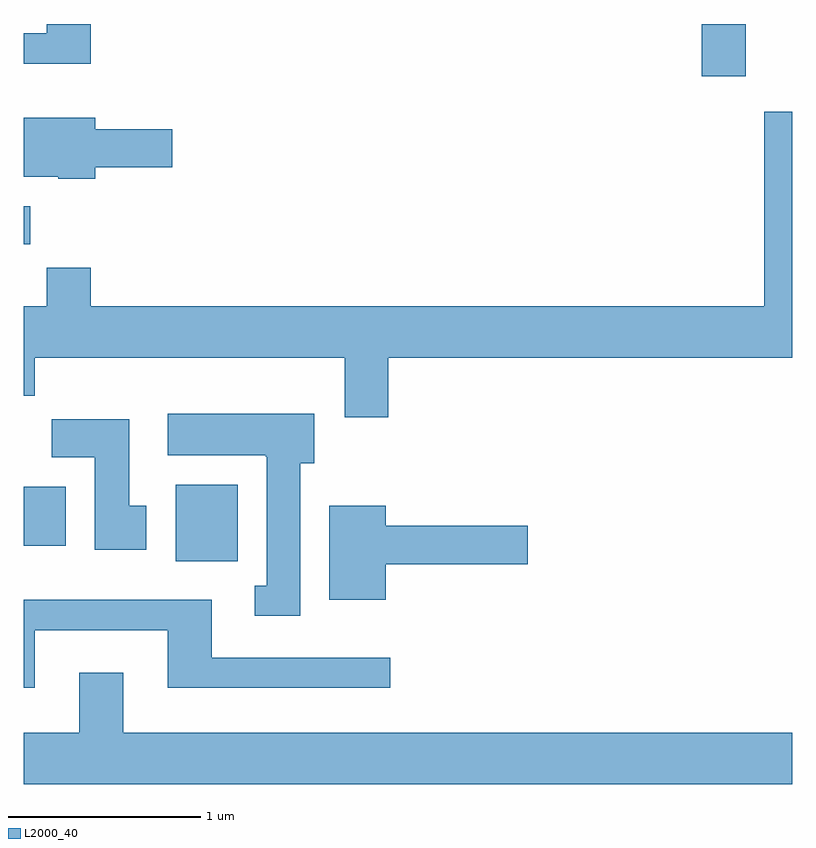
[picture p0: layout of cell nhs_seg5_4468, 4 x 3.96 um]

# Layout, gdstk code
import gdstk
lib = gdstk.Library(unit=1e-6, precision=1e-09)
def R(c, l, rs):  # rectangles x0, y0, x1, y1
    for r in rs: c.add(gdstk.rectangle(r[:2], r[2:], *l))
def P(c, l, *ps):  # polygons
    for p in ps: c.add(gdstk.Polygon(p, *l))
L2000_40 = (2000, 40)

nhs_seg5_4468 = lib.new_cell('nhs_seg5_4468')
R(nhs_seg5_4468, L2000_40, [(318.401,1471.276,318.724,1471.674), (317.611,1471.356,317.829,1471.664), (317.611,1472.926,317.644,1473.124), (321.141,1473.801,321.369,1474.072)])
P(nhs_seg5_4468, L2000_40, [(317.959,1474.072),(317.731,1474.072),(317.731,1474.024),(317.611,1474.024),(317.611,1473.866),(317.959,1473.866)],
  [(319.509,1472.336),(321.611,1472.336),(321.611,1473.614),(321.466,1473.614),(321.466,1472.604),(317.959,1472.604),(317.959,1472.804),(317.731,1472.804),(317.731,1472.604),(317.611,1472.604),(317.611,1472.136),(317.669,1472.136),(317.669,1472.336),(319.281,1472.336),(319.281,1472.026),(319.509,1472.026)],
  [(317.984,1473.326),(318.384,1473.326),(318.384,1473.524),(317.984,1473.524),(317.984,1473.584),(317.611,1473.584),(317.611,1473.276),(317.79,1473.276),(317.79,1473.266),(317.984,1473.266)],
  [(319.049,1471.786),(319.124,1471.786),(319.124,1472.044),(318.361,1472.044),(318.361,1471.826),(318.87,1471.826),(318.87,1471.82),(318.876,1471.82),(318.876,1471.149),(318.813,1471.149),(318.813,1470.991),(319.049,1470.991)],
  [(318.249,1471.564),(318.159,1471.564),(318.159,1472.014),(317.756,1472.014),(317.756,1471.816),(317.981,1471.816),(317.981,1471.336),(318.249,1471.336)],
  [(319.494,1471.261),(320.234,1471.261),(320.234,1471.459),(319.494,1471.459),(319.494,1471.564),(319.201,1471.564),(319.201,1471.076),(319.494,1471.076)],
  [(317.669,1470.916),(318.361,1470.916),(318.361,1470.616),(319.518,1470.616),(319.518,1470.774),(318.589,1470.774),(318.589,1471.074),(317.611,1471.074),(317.611,1470.616),(317.669,1470.616)],
  [(321.611,1470.384),(318.129,1470.384),(318.129,1470.694),(317.901,1470.694),(317.901,1470.384),(317.611,1470.384),(317.611,1470.116),(321.611,1470.116)])

lib.write_gds('nhs_seg5_4468.gds')
